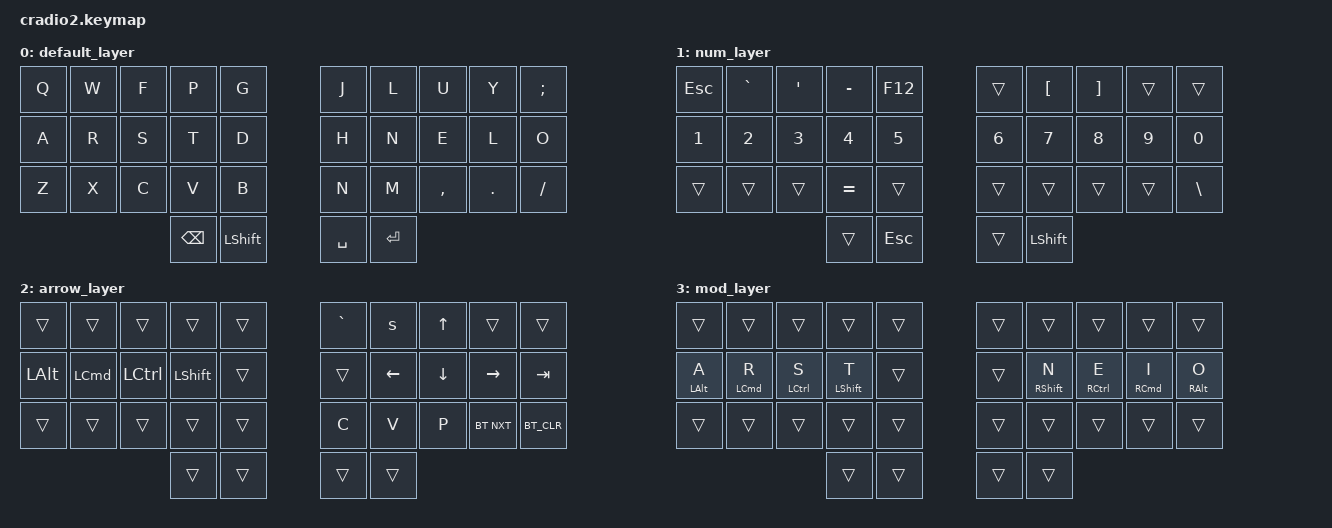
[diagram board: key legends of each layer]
// Copyright (c) 2022 The ZMK Contributors
// SPDX-License-Identifier: MIT

#include <behaviors.dtsi>
#include <dt-bindings/zmk/keys.h>
#include <dt-bindings/zmk/bt.h>

// Home row mods macro
#define HRML(k1,k2,k3,k4) &ht LSHFT k1  &ht LALT k2  &ht LCTRL k3  &ht LGUI k4
#define HRMR(k1,k2,k3,k4) &ht RGUI k1  &ht RCTRL k2  &ht RALT k3  &ht RSHFT k4
#define DFLT 0
#define NUM 1
#define ARW 2
#define MOD 3



/ {
    behaviors {
        ht: hold_tap {
            compatible = "zmk,behavior-hold-tap";
            #binding-cells = <2>;
            flavor = "tap-preferred";
            tapping-term-ms = <220>;
            quick-tap-ms = <150>;
            require-prior-idle-ms = <100>;
            bindings = <&kp>, <&kp>;
        };

        
    };
     conditional_layers {
        compatible = "zmk,conditional-layers";
        tri_layer {
            if-layers = <NUM ARW>;
            then-layer = <MOD>;
        };
    };

    keymap {
        compatible = "zmk,keymap";
        default_layer {
            bindings = <
        //╭──────────┬──────────┬──────────┬──────────┬──────────╮   ╭──────────┬──────────┬──────────┬──────────┬──────────╮
        //│  Q       │  W       │  F       │  P       │  G       │   │  j       │  L       │  U       │  Y       │  ;       │
            &kp Q      &kp W      &kp F      &kp P      &kp G          &kp J      &kp L      &kp U      &kp Y      &kp SEMI
        //├──────────┼──────────┼──────────┼──────────┼──────────┤   ├──────────┼──────────┼──────────┼──────────┼──────────┤
        //│  A       │  r       │  s       │  t       │  d       │   │  H       │  N       │  E       │  L       │ O        │
            &kp A        &kp R       &kp S     &kp T     &kp D          &kp H      &kp N     &kp E       &kp L     &kp O
        //├──────────┼──────────┼──────────┼──────────┼──────────┤   ├──────────┼──────────┼──────────┼──────────┼──────────┤
        //│  z       │  x       │  c       │  v      │  B       │   │  k        │  m       │ , <      │ . >      │ / ?      │
            &kp Z      &kp X      &kp C      &kp V      &kp B          &kp N      &kp M      &kp COMMA  &kp DOT    &kp FSLH
        //╰──────────┴──────────┴──────────┼──────────┼──────────┤   ├──────────┼──────────┼──────────┴──────────┴──────────╯
                                          &kp BSPC   &kp LSHFT  &kp SPACE   &kp  ENTER    
        //                                 ╰──────────┴──────────╯   ╰──────────┴──────────╯
            >;
        };

        num_layer {
            bindings = <
        //╭──────────┬──────────┬──────────┬──────────┬──────────╮   ╭──────────┬──────────┬──────────┬──────────┬──────────╮
        //│ ESC      │  `  ~    │  '"      │  -_      │  F12     │   │          │ [        │   ]      │          │         │
            &kp ESC    &kp GRAVE  &kp SQT   &kp MINUS   &kp F12        &trans     &kp LBKT   &kp RBKT       &trans      &trans
        //├──────────┼──────────┼──────────┼──────────┼──────────┤   ├──────────┼──────────┼──────────┼──────────┼──────────┤
        //│ 1!        │  2      │  3       │  4       │   5      │   │ 6        │ 7        │ 8        │ 9        │  0       │
            &kp N1    &kp N2     &kp N3     &kp N4      &kp N5        &kp N6     &kp N7     &kp N8     &kp N9    &kp N0
        //├──────────┼──────────┼──────────┼──────────┼──────────┤   ├──────────┼──────────┼──────────┼──────────┼──────────┤
        //│          │          │          │     =    │          │   │          │          │          │          │     \    │
            &trans     &trans      &trans    &kp EQUAL     &trans         &trans     &trans     &trans     &trans   &kp BSLH
        //╰──────────┴──────────┴──────────┼──────────┼──────────┤   ├──────────┼──────────┼──────────┴──────────┴──────────╯
                                             &trans     &kp ESC        &trans     &kp LSHFT
        //                                 ╰──────────┴──────────╯   ╰──────────┴──────────╯
            >;
        };

        arrow_layer {
            bindings = <
        //╭──────────┬──────────┬──────────┬──────────┬──────────╮   ╭──────────┬──────────┬──────────┬──────────┬──────────╮
        //│          │          │          │          │          │   │          │  s       │          │          │          │
            &trans     &trans      &trans     &trans    &trans         &kp GRAVE    &kp s     &kp UP     &trans     &trans
        //├──────────┼──────────┼──────────┼──────────┼──────────┤   ├──────────┼──────────┼──────────┼──────────┼──────────┤
        //│  opt     │  cmd     │  ctr     │  shift   │          │   │          │          │          │          │          │
            &kp LALT   &kp LCMD   &kp LCTRL   &kp LSHFT   &trans      &trans       &kp LEFT  &kp DOWN    &kp RIGHT   &kp TAB
        //├──────────┼──────────┼──────────┼──────────┼──────────┤   ├──────────┼──────────┼──────────┼──────────┼──────────┤
        //│          │          │          │          │          │   │    c     │   v      │  P       │          │          │
            &trans     &trans     &trans     &trans     &trans         &kp C       &kp V     &kp P     &bt BT_NXT  &BT_CLR
        //╰──────────┴──────────┴──────────┼──────────┼──────────┤   ├──────────┼──────────┼──────────┴──────────┴──────────╯
                                             &trans     &trans         &trans     &trans
        //                                 ╰──────────┴──────────╯   ╰──────────┴──────────╯
            >;
        };

        mod_layer {
            bindings = <
        //╭──────────┬──────────┬──────────┬──────────┬──────────╮   ╭──────────┬──────────┬──────────┬──────────┬──────────╮
        //│          │          │          │          │              │          │          │          │
           &trans      &trans     &trans     &trans    &trans            &trans     &trans     &trans     &trans    &trans
        //├──────────┼──────────┼──────────┼──────────┼──────────┤   ├──────────┼──────────┼──────────┼──────────┼──────────┤
        //           │          │          │          │          │              │          │          │          
           &mt LALT A &mt LCMD R &mt LCTRL S  &mt LSHFT T  &trans      &trans    &mt RSHFT N &mt RCTRL E  &mt RCMD I &mt RALT O
        //├──────────┼──────────┼──────────┼──────────┼──────────┤   ├──────────┼──────────┼──────────┼──────────┼──────────┤
            &trans     &trans     &trans    &trans      &trans           &trans     &trans     &trans     &trans     &trans
        //╰──────────┴──────────┴──────────┼──────────┼──────────┤   ├──────────┼──────────┼──────────┴──────────┴──────────╯
                                             &trans     &trans         &trans     &trans
        //                                 ╰──────────┴──────────╯   ╰──────────┴──────────╯
            >;
        };
    };
};
